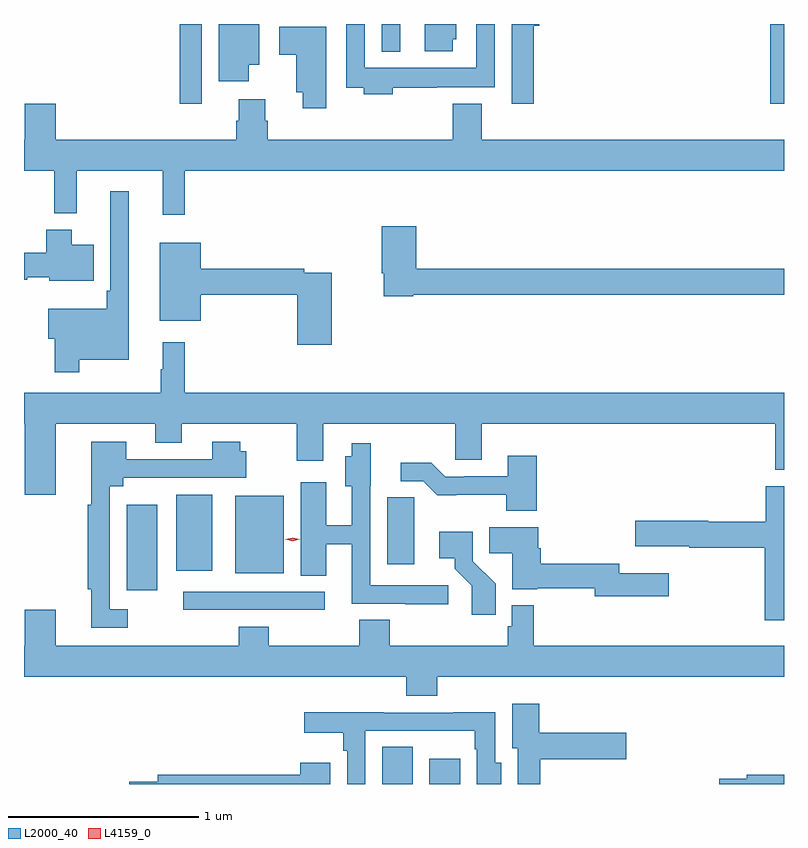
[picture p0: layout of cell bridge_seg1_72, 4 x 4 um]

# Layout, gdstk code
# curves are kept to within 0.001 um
import gdstk
lib = gdstk.Library(unit=1e-6, precision=1e-09)
def R(c, l, rs):  # rectangles x0, y0, x1, y1
    for r in rs: c.add(gdstk.rectangle(r[:2], r[2:], *l))
def P(c, l, *ps):  # polygons
    for p in ps: c.add(gdstk.Polygon(p, *l))
L2000_40 = (2000, 40)
L4159_0 = (4159, 0)

bridge_seg1_72 = lib.new_cell('bridge_seg1_72')
R(bridge_seg1_72, L2000_40, [(562.493,520.532,562.654,520.727), (562.742,520.532,562.903,520.666), (561.447,521.448,562.192,521.544), (561.149,521.553,561.31,522.001), (561.719,521.642,561.976,522.049), (561.41,521.654,561.598,522.055), (561.427,524.112,561.543,524.532), (564.535,524.112,564.608,524.532), (562.491,524.387,562.588,524.532)])
P(bridge_seg1_72, L2000_40, [(562.864,524.451),(562.882,524.451),(562.882,524.532),(562.718,524.532),(562.718,524.388),(562.864,524.388)],
  [(563.291,524.522),(563.321,524.522),(563.321,524.532),(563.175,524.532),(563.175,524.112),(563.291,524.112)],
  [(562.55,524.196),(562.781,524.196),(562.781,524.198),(563.085,524.198),(563.085,524.532),(562.989,524.532),(562.989,524.302),(562.401,524.302),(562.401,524.532),(562.305,524.532),(562.305,524.196),(562.397,524.196),(562.397,524.162),(562.55,524.162)],
  [(561.79,524.318),(561.847,524.318),(561.847,524.532),(561.632,524.532),(561.632,524.232),(561.79,524.232)],
  [(562.198,524.518),(561.951,524.518),(561.951,524.371),(562.04,524.371),(562.04,524.174),(562.076,524.174),(562.076,524.088),(562.198,524.088)],
  [(561.455,523.76),(564.608,523.76),(564.608,523.924),(563.017,523.924),(563.017,524.113),(562.865,524.113),(562.865,523.924),(561.89,523.924),(561.89,524.022),(561.877,524.022),(561.877,524.137),(561.737,524.137),(561.737,524.022),(561.725,524.022),(561.725,523.924),(560.776,523.924),(560.776,524.113),(560.612,524.113),(560.612,523.924),(560.608,523.924),(560.608,523.76),(560.767,523.76),(560.767,523.535),(560.885,523.535),(560.885,523.76),(561.338,523.76),(561.338,523.527),(561.455,523.527)],
  [(560.899,522.764),(561.16,522.764),(561.16,523.651),(561.063,523.651),(561.063,523.129),(561.043,523.129),(561.043,523.033),(560.736,523.033),(560.736,522.875),(560.77,522.875),(560.77,522.699),(560.899,522.699)],
  [(562.656,523.108),(564.608,523.108),(564.608,523.244),(562.673,523.244),(562.673,523.468),(562.49,523.468),(562.49,523.219),(562.502,523.219),(562.502,523.1),(562.656,523.1)],
  [(560.974,523.369),(560.86,523.369),(560.86,523.45),(560.726,523.45),(560.726,523.329),(560.608,523.329),(560.608,523.187),(560.625,523.187),(560.625,523.199),(560.742,523.199),(560.742,523.181),(560.974,523.181)],
  [(562.229,523.224),(562.082,523.224),(562.082,523.244),(561.538,523.244),(561.538,523.381),(561.323,523.381),(561.323,522.971),(561.538,522.971),(561.538,523.108),(562.046,523.108),(562.046,522.843),(562.229,522.843)],
  [(560.776,522.428),(561.299,522.428),(561.299,522.329),(561.439,522.329),(561.439,522.428),(562.043,522.428),(562.043,522.234),(562.183,522.234),(562.183,522.428),(562.878,522.428),(562.878,522.238),(563.017,522.238),(563.017,522.428),(564.563,522.428),(564.563,522.185),(564.608,522.185),(564.608,522.592),(561.455,522.592),(561.455,522.856),(561.338,522.856),(561.338,522.716),(561.327,522.716),(561.327,522.592),(560.608,522.592),(560.608,522.428),(560.612,522.428),(560.612,522.054),(560.776,522.054)],
  [(561.154,521.451),(561.06,521.451),(561.06,522.098),(561.13,522.098),(561.13,522.144),(561.778,522.144),(561.778,522.283),(561.747,522.283),(561.747,522.334),(561.599,522.334),(561.599,522.24),(561.145,522.24),(561.145,522.334),(560.963,522.334),(560.963,522.002),(560.944,522.002),(560.944,521.558),(560.963,521.558),(560.963,521.355),(561.154,521.355)],
  [(562.84,521.577),(562.431,521.577),(562.431,522.102),(562.432,522.102),(562.432,522.325),(562.334,522.325),(562.334,522.256),(562.298,522.256),(562.298,522.098),(562.334,522.098),(562.334,521.894),(562.198,521.894),(562.198,522.121),(562.064,522.121),(562.064,521.629),(562.198,521.629),(562.198,521.794),(562.334,521.794),(562.334,521.481),(562.615,521.481),(562.615,521.479),(562.84,521.479)],
  [(563.306,522.259),(563.153,522.259),(563.153,522.153),(562.924,522.153),(562.924,522.15),(562.824,522.15),(562.751,522.223),(562.59,522.223),(562.59,522.126),(562.71,522.126),(562.783,522.053),(563.146,522.054),(563.146,521.969),(563.306,521.969)],
  [(564.608,522.1),(564.511,522.1),(564.511,521.912),(564.21,521.912),(564.21,521.918),(563.826,521.918),(563.826,521.783),(564.11,521.783),(564.11,521.776),(564.506,521.776),(564.506,521.393),(564.608,521.393)],
  [(562.663,521.93),(562.662,521.93),(562.662,522.041),(562.52,522.041),(562.52,521.688),(562.663,521.688)],
  [(564.001,521.641),(563.74,521.641),(563.74,521.69),(563.327,521.69),(563.327,521.774),(563.314,521.774),(563.314,521.884),(563.056,521.884),(563.056,521.746),(563.177,521.746),(563.177,521.558),(563.31,521.558),(563.31,521.562),(563.612,521.562),(563.612,521.519),(564.001,521.519)],
  [(563.09,521.586),(562.971,521.705),(562.971,521.86),(562.794,521.86),(562.794,521.72),(562.874,521.72),(562.874,521.665),(562.965,521.575),(562.965,521.424),(563.09,521.424)],
  [(562.784,521.096),(564.608,521.096),(564.608,521.26),(563.291,521.26),(563.291,521.473),(563.175,521.473),(563.175,521.361),(563.155,521.361),(563.155,521.26),(562.532,521.26),(562.532,521.396),(562.372,521.396),(562.372,521.26),(561.897,521.26),(561.897,521.359),(561.737,521.359),(561.737,521.26),(560.776,521.26),(560.776,521.449),(560.612,521.449),(560.612,521.26),(560.608,521.26),(560.608,521.096),(562.619,521.096),(562.619,520.997),(562.784,520.997)],
  [(563.326,520.661),(563.779,520.661),(563.779,520.803),(563.321,520.803),(563.321,520.954),(563.177,520.954),(563.177,520.721),(563.207,520.721),(563.207,520.532),(563.326,520.532)],
  [(562.404,520.812),(562.75,520.812),(562.75,520.811),(562.98,520.811),(562.98,520.715),(562.992,520.715),(562.992,520.532),(563.119,520.532),(563.119,520.644),(563.088,520.644),(563.088,520.91),(562.867,520.91),(562.867,520.908),(562.501,520.908),(562.501,520.91),(562.083,520.91),(562.083,520.802),(562.288,520.802),(562.288,520.706),(562.308,520.706),(562.308,520.532),(562.404,520.532)],
  [(562.219,520.645),(562.061,520.645),(562.061,520.58),(561.311,520.58),(561.311,520.544),(561.162,520.544),(561.162,520.532),(562.219,520.532)],
  [(564.608,520.58),(564.412,520.58),(564.412,520.56),(564.266,520.56),(564.266,520.532),(564.608,520.532)])
P(bridge_seg1_72, L4159_0, [(562.022,521.809),(561.984,521.819),(561.983,521.819),(561.984,521.82),(562.022,521.829),(562.06,521.82),(562.06,521.819),(562.06,521.819)])

lib.write_gds('bridge_seg1_72.gds')
